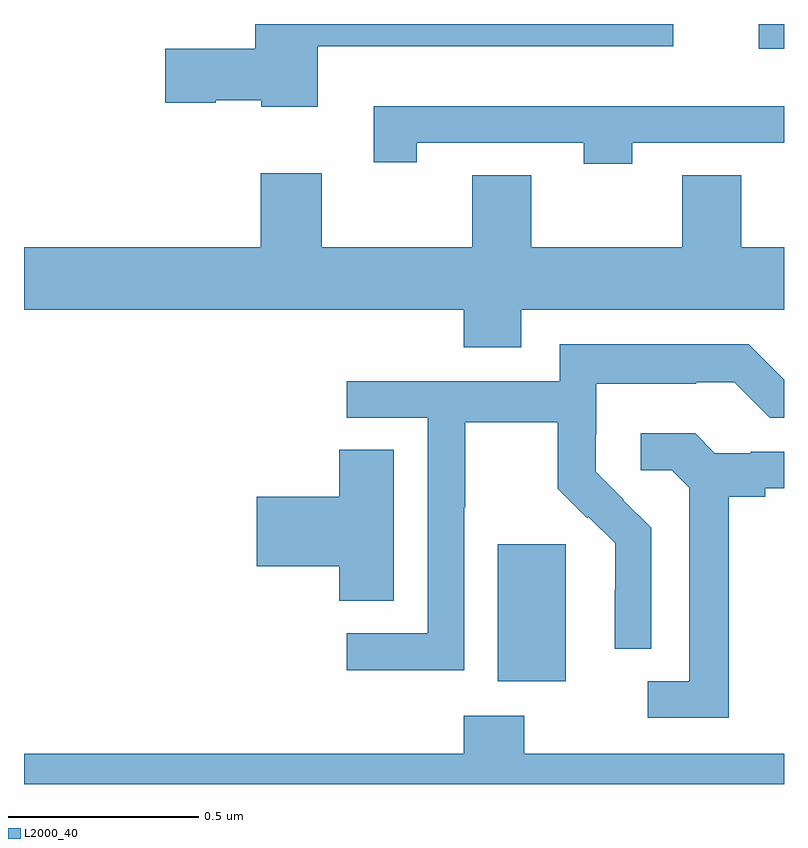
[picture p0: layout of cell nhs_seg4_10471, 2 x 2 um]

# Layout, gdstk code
import gdstk
lib = gdstk.Library(unit=1e-6, precision=1e-09)
def R(c, l, rs):  # rectangles x0, y0, x1, y1
    for r in rs: c.add(gdstk.rectangle(r[:2], r[2:], *l))
def P(c, l, *ps):  # polygons
    for p in ps: c.add(gdstk.Polygon(p, *l))
L2000_40 = (2000, 40)

nhs_seg4_10471 = lib.new_cell('nhs_seg4_10471')
R(nhs_seg4_10471, L2000_40, [(241.247,801.17,241.426,801.531), (241.934,802.835,242,802.9)])
P(nhs_seg4_10471, L2000_40, [(240.773,802.841),(241.708,802.841),(241.708,802.9),(240.608,802.9),(240.608,802.835),(240.372,802.835),(240.372,802.693),(240.504,802.693),(240.504,802.7),(240.624,802.7),(240.624,802.682),(240.773,802.682)],
  [(241.601,802.587),(242,802.587),(242,802.684),(240.921,802.684),(240.921,802.536),(241.034,802.536),(241.034,802.587),(241.473,802.587),(241.473,802.532),(241.601,802.532)],
  [(241.309,802.148),(242,802.148),(242,802.312),(241.887,802.312),(241.887,802.502),(241.732,802.502),(241.732,802.312),(241.335,802.312),(241.335,802.502),(241.18,802.502),(241.18,802.312),(240.783,802.312),(240.783,802.507),(240.623,802.507),(240.623,802.312),(240,802.312),(240,802.148),(241.157,802.148),(241.157,802.049),(241.309,802.049)],
  [(241.158,801.628),(241.161,801.628),(241.161,801.852),(241.405,801.852),(241.405,801.677),(241.482,801.6),(241.485,801.603),(241.556,801.533),(241.556,801.41),(241.554,801.41),(241.554,801.256),(241.65,801.256),(241.65,801.574),(241.577,801.647),(241.578,801.648),(241.504,801.722),(241.504,801.819),(241.506,801.819),(241.506,801.953),(241.769,801.953),(241.769,801.957),(241.869,801.957),(241.962,801.864),(242,801.864),(242,801.964),(241.907,802.057),(241.41,802.057),(241.41,801.96),(240.849,801.96),(240.849,801.864),(241.062,801.864),(241.062,801.297),(240.849,801.297),(240.849,801.199),(241.158,801.199)],
  [(241.855,801.656),(241.951,801.656),(241.951,801.678),(242,801.678),(242,801.774),(241.912,801.774),(241.912,801.771),(241.818,801.771),(241.766,801.823),(241.623,801.823),(241.623,801.726),(241.704,801.726),(241.751,801.679),(241.751,801.171),(241.641,801.171),(241.641,801.075),(241.855,801.075)],
  [(240.973,801.779),(240.83,801.779),(240.83,801.656),(240.612,801.656),(240.612,801.473),(240.83,801.473),(240.83,801.382),(240.973,801.382)],
  [(242,800.98),(241.317,800.98),(241.317,801.079),(241.157,801.079),(241.157,800.98),(240,800.98),(240,800.9),(242,800.9)])

lib.write_gds('nhs_seg4_10471.gds')
